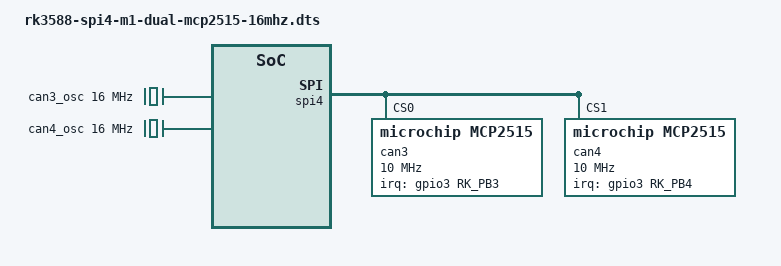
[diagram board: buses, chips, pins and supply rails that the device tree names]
/dts-v1/;
/plugin/;

#include <dt-bindings/gpio/gpio.h>
#include <dt-bindings/pinctrl/rockchip.h>
#include <dt-bindings/interrupt-controller/irq.h>

/ {
	metadata {
		title = "Enable MCP2515 with 16MHz external clock on SPI4-M1 over CS0 and CS1";
		compatible = "unknown";
		category = "misc";
		description = "Provide support for Microchip MCP2515 SPI CAN controller.\nAssumes 16MHz external clock.\nUses Pin GPIOI3_B3 and GPIOI3_B4 for INT.";
	};

	fragment@0 {
		target = <&spi4>;
		__overlay__ {
			status = "okay";
			pinctrl-names = "default";
			pinctrl-0 = <&spi4m1_pins &spi4m1_cs0 &spi4m1_cs1>;

			can3: mcp2515_0@0 {
				compatible = "microchip,mcp2515";
				reg = <0>;
				spi-max-frequency = <10000000>;

				pinctrl-names = "default";
				pinctrl-0 = <&mcp2515_0_int_pins>;

				interrupt-parent = <&gpio3>;
				interrupts = <RK_PB3 IRQ_TYPE_EDGE_FALLING>;

				clocks = <&can3_osc>;
			};

            can4: mcp2515_1@1 {
				compatible = "microchip,mcp2515";
				reg = <1>;
				spi-max-frequency = <10000000>;

				pinctrl-names = "default";
				pinctrl-0 = <&mcp2515_1_int_pins>;

				interrupt-parent = <&gpio3>;
				interrupts = <RK_PB4 IRQ_TYPE_EDGE_FALLING>;

				clocks = <&can4_osc>;
			};
		};
	};

	fragment@1 {
		target = <&pinctrl>;
		__overlay__ {
			mcp2515_0 {
				mcp2515_0_int_pins: mcp2515-0-int-pins {
					rockchip,pins = <3 RK_PB3 RK_FUNC_GPIO &pcfg_pull_up>;
				};
			};
            mcp2515_1 {	
                mcp2515_1_int_pins: mcp2515-1-int-pins {
					rockchip,pins = <3 RK_PB4 RK_FUNC_GPIO &pcfg_pull_up>;
				};
			};
		};
	};

	fragment@2 {
		target-path = "/";
		__overlay__ {
			can3_osc: can3-osc {
				compatible = "fixed-clock";
				#clock-cells = <0>;
				clock-frequency  = <16000000>;
			};
            can4_osc: can4-osc {
				compatible = "fixed-clock";
				#clock-cells = <0>;
				clock-frequency  = <16000000>;
			};
		};
	};
};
